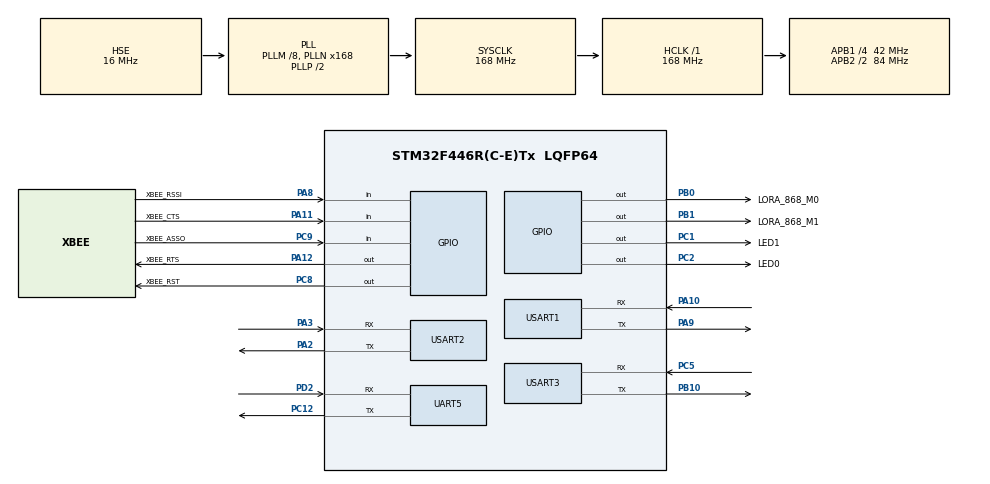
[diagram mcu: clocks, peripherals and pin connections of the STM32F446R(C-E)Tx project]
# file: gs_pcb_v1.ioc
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Mcu.Family=STM32F4
Mcu.Name=STM32F446R(C-E)Tx
Mcu.Package=LQFP64
NVIC.PriorityGroup=NVIC_PRIORITYGROUP_4
NVIC.UART5_IRQn=true\:5\:0\:false\:false\:true\:true\:true\:true
NVIC.USART1_IRQn=true\:5\:0\:false\:false\:true\:true\:true\:true
NVIC.USART2_IRQn=true\:5\:0\:false\:false\:true\:true\:true\:true
NVIC.USART3_IRQn=true\:5\:0\:false\:false\:true\:true\:true\:true
PA10.Mode=Asynchronous
PA10.Signal=USART1_RX
PA11.GPIO_Label=XBEE_CTS
PA11.Signal=GPIO_Input
PA12.GPIO_Label=XBEE_RTS
PA12.Signal=GPIO_Output
PA13.Mode=Serial_Wire
PA13.Signal=SYS_JTMS-SWDIO
PA14.Mode=Serial_Wire
PA14.Signal=SYS_JTCK-SWCLK
PA2.Mode=Asynchronous
PA2.Signal=USART2_TX
PA3.Mode=Asynchronous
PA3.Signal=USART2_RX
PA8.GPIO_Label=XBEE_RSSI
PA8.Signal=GPIO_Input
PA9.Mode=Asynchronous
PA9.Signal=USART1_TX
PB0.GPIO_Label=LORA_868_M0
PB0.Signal=GPIO_Output
PB1.GPIO_Label=LORA_868_M1
PB1.Signal=GPIO_Output
PB10.Mode=Asynchronous
PB10.Signal=USART3_TX
PC1.GPIO_Label=LED1
PC1.Signal=GPIO_Output
PC12.Mode=Asynchronous
PC12.Signal=UART5_TX
PC2.GPIO_Label=LED0
PC2.Signal=GPIO_Output
PC5.Mode=Asynchronous
PC5.Signal=USART3_RX
PC8.GPIO_Label=XBEE_RST
PC8.GPIO_ModeDefaultOutputPP=GPIO_MODE_OUTPUT_OD
PC8.PinState=GPIO_PIN_SET
PC8.Signal=GPIO_Output
PC9.GPIO_Label=XBEE_ASSO
PC9.Signal=GPIO_Input
PD2.Mode=Asynchronous
PD2.Signal=UART5_RX
PH0-OSC_IN.Mode=HSE-External-Oscillator
PH0-OSC_IN.Signal=RCC_OSC_IN
PH1-OSC_OUT.Mode=HSE-External-Oscillator
PH1-OSC_OUT.Signal=RCC_OSC_OUT
ProjectManager.HeapSize=0x200
ProjectManager.StackSize=0x400
ProjectManager.TargetToolchain=STM32CubeIDE
RCC.48MHZClocksFreq_Value=48000000
RCC.AHBFreq_Value=168000000
RCC.APB1CLKDivider=RCC_HCLK_DIV4
RCC.APB1Freq_Value=42000000
RCC.APB1TimFreq_Value=84000000
RCC.APB2CLKDivider=RCC_HCLK_DIV2
RCC.APB2Freq_Value=84000000
RCC.APB2TimFreq_Value=168000000
RCC.CortexFreq_Value=168000000
RCC.HCLKFreq_Value=168000000
RCC.HSE_VALUE=16000000
RCC.HSI_VALUE=16000000
RCC.LSE_VALUE=32768
RCC.PLLM=8
RCC.PLLN=168
RCC.PLLQ=7
RCC.PLLSourceVirtual=RCC_PLLSOURCE_HSE
RCC.SYSCLKFreq_VALUE=168000000
RCC.SYSCLKSource=RCC_SYSCLKSOURCE_PLLCLK
RCC.VCOOutputFreq_Value=336000000
UART5.VirtualMode=Asynchronous
USART1.VirtualMode=VM_ASYNC
USART2.VirtualMode=VM_ASYNC
USART3.VirtualMode=VM_ASYNC
board=custom

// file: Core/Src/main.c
/* USER CODE BEGIN Header */
/**
  ******************************************************************************
  * @file           : main.c
  * @brief          : Main program body
  ******************************************************************************
  * @attention
  *
  * Copyright (c) 2026 STMicroelectronics.
  * All rights reserved.
  *
  * This software is licensed under terms that can be found in the LICENSE file
  * in the root directory of this software component.
  * If no LICENSE file comes with this software, it is provided AS-IS.
  *
  ******************************************************************************
  */
/* USER CODE END Header */
#include "main.h"

/* USER CODE BEGIN Includes */
#include "gs_link.h"
#include <string.h>
/* USER CODE END Includes */

/* USER CODE BEGIN PTD */
typedef struct {
    UART_HandleTypeDef *h;
    uint8_t  byte;            /* 1-byte HAL_UART_Receive_IT target */
    gs_rx_t  rx;
} port_t;
/* USER CODE END PTD */

/* USER CODE BEGIN PD */
#define TX_TIMEOUT_MS   100   /* a 320-byte line takes 28 ms at 115200 */
/* USER CODE END PD */

UART_HandleTypeDef huart1;
UART_HandleTypeDef huart2;
UART_HandleTypeDef huart3;
UART_HandleTypeDef huart5;

/* USER CODE BEGIN PV */
/* Ground station data flow (see README "Pin assignment"):
 *   XBee  (USART1, PA9/PA10)  <->  USB-UART A (USART2, PA2/PA3)   LED0 toggles per received line
 *   LoRa  (USART3, PB10/PC5)  <->  USB-UART B (UART5,  PC12/PD2)  LED1 toggles per received line
 * Radio -> PC: raw bytes, dumped as received, nothing parsed or dropped.
 * PC -> radio: each line is sent as a telecommand (rf_pcb-fw relays it to the FC). */
static port_t xbee  = { .h = &huart1 };
static port_t lora  = { .h = &huart3 };
static port_t usb_a = { .h = &huart2 };
static port_t usb_b = { .h = &huart5 };
static port_t *const ports[] = { &xbee, &lora, &usb_a, &usb_b };
/* USER CODE END PV */

void SystemClock_Config(void);
static void MX_GPIO_Init(void);
static void MX_USART1_UART_Init(void);
static void MX_USART2_UART_Init(void);
static void MX_USART3_UART_Init(void);
static void MX_UART5_Init(void);

/* USER CODE BEGIN 0 */
static port_t *port_of(UART_HandleTypeDef *h)
{
    for (unsigned i = 0; i < sizeof ports / sizeof ports[0]; i++)
        if (ports[i]->h == h) return ports[i];
    return NULL;
}

static void port_arm(port_t *p)
{
    HAL_UART_Receive_IT(p->h, &p->byte, 1);
}

static void port_write_line(port_t *p, const char *s)
{
    HAL_UART_Transmit(p->h, (const uint8_t *)s, strlen(s), TX_TIMEOUT_MS);
    HAL_UART_Transmit(p->h, (const uint8_t *)"\r\n", 2, TX_TIMEOUT_MS);
}

/* One byte per interrupt; re-armed from the callback. */
void HAL_UART_RxCpltCallback(UART_HandleTypeDef *h)
{
    port_t *p = port_of(h);
    if (!p) return;
    gs_rx_push(&p->rx, p->byte);
    port_arm(p);
}

/* Overrun aborts HAL reception: clear and re-arm, never let a port go deaf.
 * (Framing/noise errors keep the reception running; re-arm is then a no-op.) */
void HAL_UART_ErrorCallback(UART_HandleTypeDef *h)
{
    port_t *p = port_of(h);
    if (!p) return;
    __HAL_UART_CLEAR_OREFLAG(h);          /* SR then DR read: clears PE/FE/NE/ORE */
    port_arm(p);
}

/* Radio -> PC: every byte the radio delivers goes straight to the USB-UART, no framing,
 * no parsing, no filtering. Sends the contiguous span of the ring up to the wrap point.
 * The LED toggles once per '\n' seen in the span. */
static void radio_dump(port_t *radio, port_t *pc, GPIO_TypeDef *led_port, uint16_t led_pin)
{
    gs_rx_t *q = &radio->rx;
    uint16_t w = q->w, r = q->r;
    if (r == w) return;
    uint16_t n = (w > r) ? (uint16_t)(w - r) : (uint16_t)(GS_RING - r);
    HAL_UART_Transmit(pc->h, &q->buf[r], n, TX_TIMEOUT_MS);   /* ponytail: blocking, <=1 KB = ~90 ms at 115200 */
    if (memchr(&q->buf[r], '\n', n)) HAL_GPIO_TogglePin(led_port, led_pin);
    q->r = (uint16_t)((r + n) % GS_RING);
}

/* PC -> radio: one telecommand per line, sent verbatim + CRLF on the radio of the port it
 * arrived on (USB-A -> XBee, USB-B -> LoRa). rf_pcb-fw relays it to the FC unchanged, so the
 * FC framing rules are enforced here (gs_tc_ok). No reply comes back; confirm via telemetry. */
static void pc_in(const char *line, port_t *radio)
{
    if (!gs_tc_ok(line)) return;
    port_write_line(radio, line);
}
/* USER CODE END 0 */

int main(void)
{

  /* MCU Configuration--------------------------------------------------------*/

  /* Reset of all peripherals, Initializes the Flash interface and the Systick. */
  HAL_Init();

  /* Configure the system clock */
  SystemClock_Config();

  /* Initialize all configured peripherals */
  MX_GPIO_Init();
  MX_USART1_UART_Init();
  MX_USART2_UART_Init();
  MX_USART3_UART_Init();
  MX_UART5_Init();
  /* USER CODE BEGIN 2 */
  /* MX_GPIO_Init already set: E22 M0=M1=0 (transparent mode), XBee nRTS low (always
   * ready to receive), XBee nRESET released (open-drain high, R14 pull-up on the PCB). */
  for (unsigned i = 0; i < sizeof ports / sizeof ports[0]; i++) port_arm(ports[i]);
  /* USER CODE END 2 */

  /* Infinite loop */
  /* USER CODE BEGIN WHILE */
  while (1)
  {
    /* Round robin: one ring span per radio, one line per USB port, so no port starves the others. */
    const char *l;
    radio_dump(&xbee, &usb_a, LED0_GPIO_Port, LED0_Pin);
    radio_dump(&lora, &usb_b, LED1_GPIO_Port, LED1_Pin);
    if ((l = gs_rx_line(&usb_a.rx))) pc_in(l, &xbee);
    if ((l = gs_rx_line(&usb_b.rx))) pc_in(l, &lora);
    /* USER CODE END WHILE */

  }
}

void SystemClock_Config(void)
{
  RCC_OscInitTypeDef RCC_OscInitStruct = {0};
  RCC_ClkInitTypeDef RCC_ClkInitStruct = {0};

  /** Configure the main internal regulator output voltage
  */
  __HAL_RCC_PWR_CLK_ENABLE();
  __HAL_PWR_VOLTAGESCALING_CONFIG(PWR_REGULATOR_VOLTAGE_SCALE1);

  /** Initializes the RCC Oscillators according to the specified parameters
  * in the RCC_OscInitTypeDef structure.
  */
  RCC_OscInitStruct.OscillatorType = RCC_OSCILLATORTYPE_HSE;
  RCC_OscInitStruct.HSEState = RCC_HSE_ON;
  RCC_OscInitStruct.PLL.PLLState = RCC_PLL_ON;
  RCC_OscInitStruct.PLL.PLLSource = RCC_PLLSOURCE_HSE;
  RCC_OscInitStruct.PLL.PLLM = 8;
  RCC_OscInitStruct.PLL.PLLN = 168;
  RCC_OscInitStruct.PLL.PLLP = RCC_PLLP_DIV2;
  RCC_OscInitStruct.PLL.PLLQ = 7;
  RCC_OscInitStruct.PLL.PLLR = 2;
  if (HAL_RCC_OscConfig(&RCC_OscInitStruct) != HAL_OK)
  {
    Error_Handler();
  }

  /** Initializes the CPU, AHB and APB buses clocks
  */
  RCC_ClkInitStruct.ClockType = RCC_CLOCKTYPE_HCLK|RCC_CLOCKTYPE_SYSCLK
                              |RCC_CLOCKTYPE_PCLK1|RCC_CLOCKTYPE_PCLK2;
  RCC_ClkInitStruct.SYSCLKSource = RCC_SYSCLKSOURCE_PLLCLK;
  RCC_ClkInitStruct.AHBCLKDivider = RCC_SYSCLK_DIV1;
  RCC_ClkInitStruct.APB1CLKDivider = RCC_HCLK_DIV4;
  RCC_ClkInitStruct.APB2CLKDivider = RCC_HCLK_DIV2;

  if (HAL_RCC_ClockConfig(&RCC_ClkInitStruct, FLASH_LATENCY_5) != HAL_OK)
  {
    Error_Handler();
  }
}

static void MX_UART5_Init(void)
{

  huart5.Instance = UART5;
  huart5.Init.BaudRate = 115200;
  huart5.Init.WordLength = UART_WORDLENGTH_8B;
  huart5.Init.StopBits = UART_STOPBITS_1;
  huart5.Init.Parity = UART_PARITY_NONE;
  huart5.Init.Mode = UART_MODE_TX_RX;
  huart5.Init.HwFlowCtl = UART_HWCONTROL_NONE;
  huart5.Init.OverSampling = UART_OVERSAMPLING_16;
  if (HAL_UART_Init(&huart5) != HAL_OK)
  {
    Error_Handler();
  }

}

static void MX_USART1_UART_Init(void)
{

  huart1.Instance = USART1;
  huart1.Init.BaudRate = 115200;
  huart1.Init.WordLength = UART_WORDLENGTH_8B;
  huart1.Init.StopBits = UART_STOPBITS_1;
  huart1.Init.Parity = UART_PARITY_NONE;
  huart1.Init.Mode = UART_MODE_TX_RX;
  huart1.Init.HwFlowCtl = UART_HWCONTROL_NONE;
  huart1.Init.OverSampling = UART_OVERSAMPLING_16;
  if (HAL_UART_Init(&huart1) != HAL_OK)
  {
    Error_Handler();
  }

}

static void MX_USART2_UART_Init(void)
{

  huart2.Instance = USART2;
  huart2.Init.BaudRate = 115200;
  huart2.Init.WordLength = UART_WORDLENGTH_8B;
  huart2.Init.StopBits = UART_STOPBITS_1;
  huart2.Init.Parity = UART_PARITY_NONE;
  huart2.Init.Mode = UART_MODE_TX_RX;
  huart2.Init.HwFlowCtl = UART_HWCONTROL_NONE;
  huart2.Init.OverSampling = UART_OVERSAMPLING_16;
  if (HAL_UART_Init(&huart2) != HAL_OK)
  {
    Error_Handler();
  }

}

static void MX_USART3_UART_Init(void)
{

  huart3.Instance = USART3;
  huart3.Init.BaudRate = 115200;
  huart3.Init.WordLength = UART_WORDLENGTH_8B;
  huart3.Init.StopBits = UART_STOPBITS_1;
  huart3.Init.Parity = UART_PARITY_NONE;
  huart3.Init.Mode = UART_MODE_TX_RX;
  huart3.Init.HwFlowCtl = UART_HWCONTROL_NONE;
  huart3.Init.OverSampling = UART_OVERSAMPLING_16;
  if (HAL_UART_Init(&huart3) != HAL_OK)
  {
    Error_Handler();
  }

}

static void MX_GPIO_Init(void)
{
  GPIO_InitTypeDef GPIO_InitStruct = {0};

  /* GPIO Ports Clock Enable */
  __HAL_RCC_GPIOC_CLK_ENABLE();
  __HAL_RCC_GPIOH_CLK_ENABLE();
  __HAL_RCC_GPIOA_CLK_ENABLE();
  __HAL_RCC_GPIOB_CLK_ENABLE();
  __HAL_RCC_GPIOD_CLK_ENABLE();

  /*Configure GPIO pin Output Level */
  HAL_GPIO_WritePin(GPIOC, LED1_Pin|LED0_Pin, GPIO_PIN_RESET);

  /*Configure GPIO pin Output Level */
  HAL_GPIO_WritePin(GPIOB, LORA_868_M0_Pin|LORA_868_M1_Pin, GPIO_PIN_RESET);

  /*Configure GPIO pin Output Level */
  HAL_GPIO_WritePin(XBEE_RST_GPIO_Port, XBEE_RST_Pin, GPIO_PIN_SET);

  /*Configure GPIO pin Output Level */
  HAL_GPIO_WritePin(XBEE_RTS_GPIO_Port, XBEE_RTS_Pin, GPIO_PIN_RESET);

  /*Configure GPIO pins : LED1_Pin LED0_Pin */
  GPIO_InitStruct.Pin = LED1_Pin|LED0_Pin;
  GPIO_InitStruct.Mode = GPIO_MODE_OUTPUT_PP;
  GPIO_InitStruct.Pull = GPIO_NOPULL;
  GPIO_InitStruct.Speed = GPIO_SPEED_FREQ_LOW;
  HAL_GPIO_Init(GPIOC, &GPIO_InitStruct);

  /*Configure GPIO pins : LORA_868_M0_Pin LORA_868_M1_Pin */
  GPIO_InitStruct.Pin = LORA_868_M0_Pin|LORA_868_M1_Pin;
  GPIO_InitStruct.Mode = GPIO_MODE_OUTPUT_PP;
  GPIO_InitStruct.Pull = GPIO_NOPULL;
  GPIO_InitStruct.Speed = GPIO_SPEED_FREQ_LOW;
  HAL_GPIO_Init(GPIOB, &GPIO_InitStruct);

  /*Configure GPIO pin : XBEE_RST_Pin */
  GPIO_InitStruct.Pin = XBEE_RST_Pin;
  GPIO_InitStruct.Mode = GPIO_MODE_OUTPUT_OD;
  GPIO_InitStruct.Pull = GPIO_NOPULL;
  GPIO_InitStruct.Speed = GPIO_SPEED_FREQ_LOW;
  HAL_GPIO_Init(XBEE_RST_GPIO_Port, &GPIO_InitStruct);

  /*Configure GPIO pin : XBEE_ASSO_Pin */
  GPIO_InitStruct.Pin = XBEE_ASSO_Pin;
  GPIO_InitStruct.Mode = GPIO_MODE_INPUT;
  GPIO_InitStruct.Pull = GPIO_NOPULL;
  HAL_GPIO_Init(XBEE_ASSO_GPIO_Port, &GPIO_InitStruct);

  /*Configure GPIO pins : XBEE_RSSI_Pin XBEE_CTS_Pin */
  GPIO_InitStruct.Pin = XBEE_RSSI_Pin|XBEE_CTS_Pin;
  GPIO_InitStruct.Mode = GPIO_MODE_INPUT;
  GPIO_InitStruct.Pull = GPIO_NOPULL;
  HAL_GPIO_Init(GPIOA, &GPIO_InitStruct);

  /*Configure GPIO pin : XBEE_RTS_Pin */
  GPIO_InitStruct.Pin = XBEE_RTS_Pin;
  GPIO_InitStruct.Mode = GPIO_MODE_OUTPUT_PP;
  GPIO_InitStruct.Pull = GPIO_NOPULL;
  GPIO_InitStruct.Speed = GPIO_SPEED_FREQ_LOW;
  HAL_GPIO_Init(XBEE_RTS_GPIO_Port, &GPIO_InitStruct);

}

void Error_Handler(void)
{
  __disable_irq();
  while (1)
  {
  }
}
